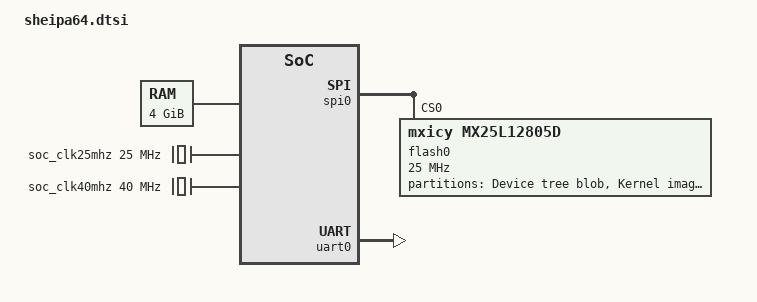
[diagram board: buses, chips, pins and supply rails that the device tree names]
/*
 * Realtek Semiconductor Corp.
 *
 * Device Tree Structure
 *
 * Tony Wu (tonywu@realtek.com)
 */

#include <dt-bindings/interrupt-controller/irq.h>

/ {

	compatible = "sheipa-bus", "simple-bus";
	#address-cells = <2>;
	#size-cells = <2>;

	/* Exclude secure memory range from 0x80000000 to 0x80400000. */
	memory@80400000 {
		device_type = "memory";
		/* Lower 32-bit part */
		reg = <0x0 0x80400000 0x0 0x7fc00000>,
		/* 36-bit part */
		      <0xe 0x80000000 0x0 0x80000000>;
	};

	reserved-memory {
		#address-cells = <2>;
		#size-cells = <2>;
		ranges;
		linux,cma {
			compatible = "shared-dma-pool";
			reg = <0x0 0xc0000000 0x0 0x4000000>;
			reusable;
			linux,cma-default;
		};
	};

	clocks {
		#address-cells = <1>;
		#size-cells = <0>;

		soc_clk25mhz: oscillator1 {
			compatible = "fixed-clock";
			clock-output-names = "clk25mhz";
			clock-frequency = <25000000>;
			#clock-cells = <0>;
		};
		soc_clk40mhz: oscillator2 {
			compatible = "fixed-clock";
			clock-output-names = "clk40mhz";
			clock-frequency = <40000000>;
			#clock-cells = <0>;
		};
	};


	spi0: spi@60009000 {
		compatible = "realtek,spi-rxi312";
		#address-cells = <1>;
		#size-cells = <0>;
		bus_num = <0>;
		reg = <0x0 0x60009000 0x0 0x200>,
			<0x0 0x20000000 0x0 0x1000000>;
		interrupts = <GIC_SPI 21 IRQ_TYPE_LEVEL_HIGH>;
		clocks = <&soc_clk25mhz>;
		spi-deactivate-delay = <0>;
		spi-max-frequency = <25000000>;
		spi-fifo-size = <64>;
		flash0: flash@0 {
			#address-cells = <1>;
			#size-cells = <1>;
			compatible = "mxicy,mx25l12805d", "mxic,m25p80",
				     "jedec,spi-nor";
			spi-max-frequency = <25000000>;
			reg = <0>;
			mode = <0>;
			spi-num-slaves = <0>;
			spi-fifo-size = <64>;
			spi-baudr-div = <1>;
			spi-rx-bus-width = <4>;
			spi-tx-bus-width = <4>;
			partitions {
				compatible = "fixed-partitions";
				#address-cells = <1>;
				#size-cells = <1>;
				partition@0 {
					label = "Device tree blob";
					reg = <0x40000 0xC0000>; /* 256K-1M */
					read-only;
				};
				partition@1 {
					label = "Kernel image";
					reg = <0x200000 0x600000>; /* 2-8M */
					read-only;
				};
				partition@2 {
					label = "Squashfs filesystem";
					reg = <0x800000 0x700000>; /* 8M-15M */
					read-only;
				};
				partition@3 {
					label = "jffs2 filesystem";
					reg = <0xF00000 0x100000>; /* 15M-16M */
				};
			};
		};
	};

	rtc: rtc@6000c000 {
		compatible = "arm,rtc-pl031", "arm,primecell";
		reg = <0x0 0x6000c000 0x0 0x1000>;
		interrupts = <GIC_SPI 22 IRQ_TYPE_LEVEL_HIGH>;
		clocks = <&soc_clk25mhz>;
		clock-names = "apb_pclk";
		status = "disabled";
	};

	uart0: dwapb@60007000 {
		compatible = "snps,dw-apb-uart";
		reg = <0x0 0x60007000 0x0 0x100>;
		interrupts = <GIC_SPI 23 IRQ_TYPE_LEVEL_HIGH>;
		reg-shift = <2>;
		reg-io-width = <1>;
		clock-frequency = <25000000>;
	};

	eth0: rtl8168@70004000 {
		compatible = "realtek,sheipa-r8168", "realtek,r8168";
		reg = <0x0 0x70004000 0x0 0x100>;
		interrupts = <GIC_SPI 46 IRQ_TYPE_LEVEL_HIGH>;
		mac-address = "44:77:39:3a:9b:15";
		status = "disabled";
	};
	gmac: rtl8139gb@70004000 {
		compatible = "realtek,8139gb";
		reg = <0x0 0x70004000 0x0 0x400>;
		interrupts = <GIC_SPI 46 IRQ_TYPE_LEVEL_HIGH>;
		mac-address = "00:81:39:00:00:01";
		status = "disabled";
	};

	sd: sd@70003000 {
		compatible = "realtek,sheipa-dw-mshc", "snps,dw-mshc";
		reg = <0x0 0x70003000 0x0 0x800>;
		interrupts = <GIC_SPI 54 IRQ_TYPE_LEVEL_HIGH>;
		bus-width = <8>;
		fifo-depth = <0x10>;
		clock-frequency = <100000000>; // Pretend x2 clock to get lower freq 12.5 MHz (FPGA-only issue)
		status = "disabled";
		cap-mmc-highspeed;
	};

	gpu: malig310@68200000 {
		compatible = "arm,mali-midgard";
		reg = <0x0 0x68200000 0x0 0x500000>;
		interrupts = <GIC_SPI 39 IRQ_TYPE_LEVEL_HIGH>,
			<GIC_SPI 38 IRQ_TYPE_LEVEL_HIGH>,
			<GIC_SPI 40 IRQ_TYPE_LEVEL_HIGH>;
		interrupt-names = "JOB", "MMU", "GPU";
		clocks = <&soc_clk40mhz>;
		clock-names = "clk_mali";
		system-coherency = <31>;  // No coherency
		status = "disabled";
	};

	hdmi0: hdmi@69000000 {
		compatible = "realtek,sheipa-hdmi";
		reg = <0x0 0x69000000 0x0 0x60>,
		      <0x0 0x69001000 0x0 0x300>;
		interrupts = <GIC_SPI 35 IRQ_TYPE_LEVEL_HIGH>;
		sheipa,hdmi-res-x = <720>;
		sheipa,hdmi-res-y = <480>;
		sheipa,hdmi-bpp = <32>;
		sheipa,hdmi-mode = <1>;
		status = "disabled";
	};

	firmware {
		optee {
			compatible = "linaro,optee-tz";
			method = "smc";
		};
	};

	chosen {
		/* add 'root=/dev/mtdblock2 rootfstype=squashfs' to bootargs if boot from spi flash */
		bootargs = "earlycon=uart8250,mmio32,0x60007000,ttyS0,57600n8 console=ttyS0,57600n8 dw_mmc.card_number=1";
		stdout-path = &uart0;
	};
};
